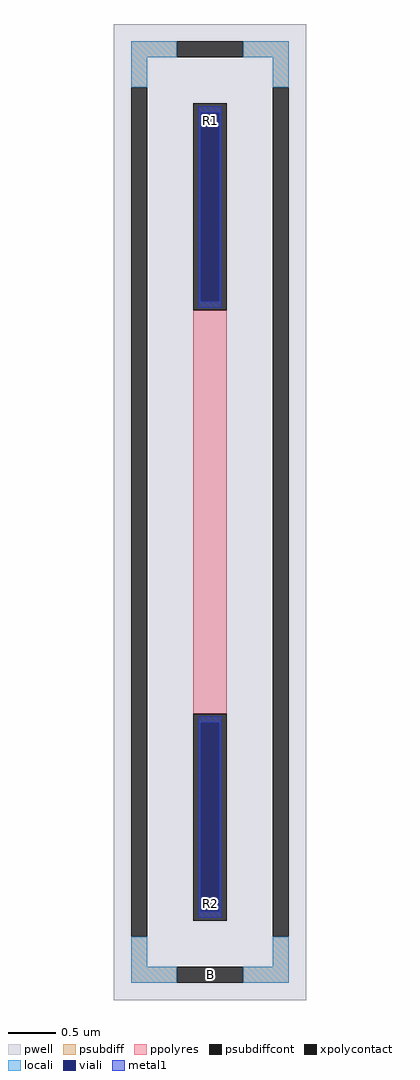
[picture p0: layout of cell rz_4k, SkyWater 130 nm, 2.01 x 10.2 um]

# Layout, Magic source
magic
tech sky130A
magscale 1 2
<< pwell >>
rect -201 -1020 201 1020
<< psubdiff >>
rect -165 950 -69 984
rect 69 950 165 984
rect -165 888 -131 950
rect 131 888 165 950
rect -165 -950 -131 -888
rect 131 -950 165 -888
rect -165 -984 -69 -950
rect 69 -984 165 -950
<< psubdiffcont >>
rect -69 950 69 984
rect -165 -888 -131 888
rect 131 -888 165 888
rect -69 -984 69 -950
<< xpolycontact >>
rect -35 422 35 854
rect -35 -854 35 -422
<< ppolyres >>
rect -35 -422 35 422
<< locali >>
rect -165 950 -69 984
rect 69 950 165 984
rect -165 888 -131 950
rect 131 888 165 950
rect -165 -950 -131 -888
rect 131 -950 165 -888
rect -165 -984 -69 -950
rect 69 -984 165 -950
<< viali >>
rect -19 439 19 836
rect -19 -836 19 -439
<< metal1 >>
rect -25 836 25 848
rect -25 439 -19 836
rect 19 439 25 836
rect -25 427 25 439
rect -25 -439 25 -427
rect -25 -836 -19 -439
rect 19 -836 25 -439
rect -25 -848 25 -836
<< labels >>
rlabel psubdiffcont 0 -967 0 -967 0 B
port 1 nsew
rlabel xpolycontact 0 819 0 819 0 R1
port 2 nsew
rlabel xpolycontact 0 -819 0 -819 0 R2
port 3 nsew
<< properties >>
string FIXED_BBOX -148 -967 148 967
<< end >>
